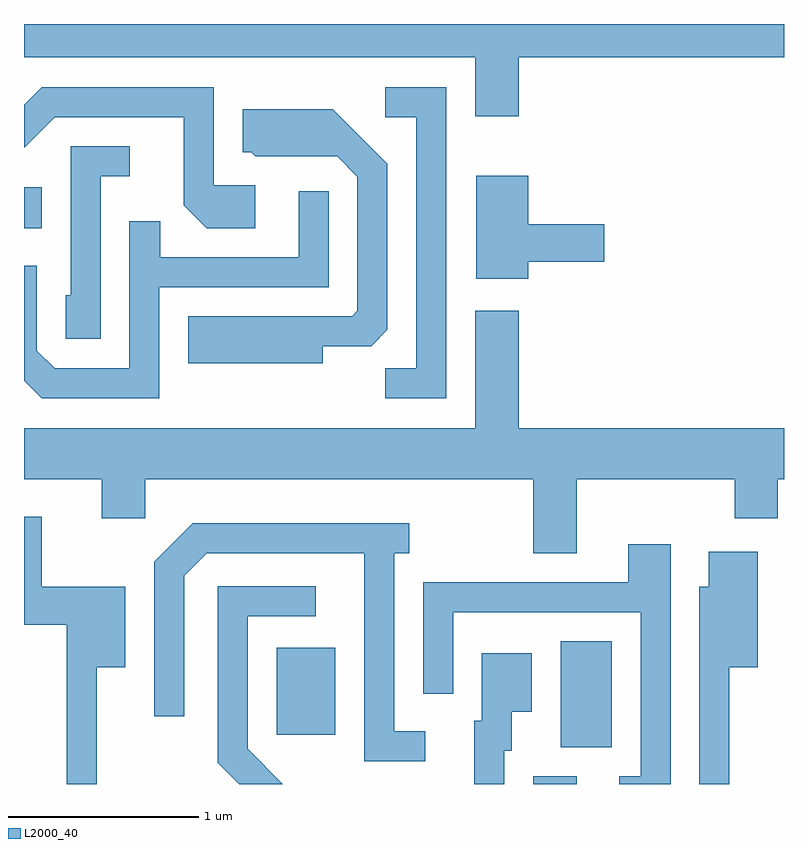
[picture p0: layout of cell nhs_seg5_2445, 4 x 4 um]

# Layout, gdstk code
import gdstk
lib = gdstk.Library(unit=1e-6, precision=1e-09)
def R(c, l, rs):  # rectangles x0, y0, x1, y1
    for r in rs: c.add(gdstk.rectangle(r[:2], r[2:], *l))
def P(c, l, *ps):  # polygons
    for p in ps: c.add(gdstk.Polygon(p, *l))
L2000_40 = (2000, 40)

nhs_seg5_2445 = lib.new_cell('nhs_seg5_2445')
R(nhs_seg5_2445, L2000_40, [(260.291,1464.072,260.519,1464.114), (260.436,1464.266,260.704,1464.824), (258.941,1464.331,259.249,1464.789), (257.611,1466.996,257.704,1467.214)])
P(nhs_seg5_2445, L2000_40, [(260.214,1467.896),(261.611,1467.896),(261.611,1468.072),(257.611,1468.072),(257.611,1467.896),(259.986,1467.896),(259.986,1467.586),(260.214,1467.586)],
  [(259.834,1467.739),(259.513,1467.739),(259.513,1467.581),(259.676,1467.581),(259.676,1466.259),(259.513,1466.259),(259.513,1466.101),(259.834,1466.101)],
  [(258.829,1467.224),(258.609,1467.224),(258.609,1467.739),(257.704,1467.739),(257.611,1467.646),(257.611,1467.42),(257.772,1467.581),(258.451,1467.581),(258.451,1467.119),(258.574,1466.996),(258.829,1466.996)],
  [(259.184,1466.376),(259.439,1466.376),(259.524,1466.462),(259.524,1467.337),(259.236,1467.624),(258.761,1467.624),(258.761,1467.396),(258.808,1467.396),(258.829,1467.376),(259.259,1467.376),(259.366,1467.269),(259.366,1466.562),(259.339,1466.534),(258.476,1466.534),(258.476,1466.286),(259.184,1466.286)],
  [(258.014,1467.271),(258.168,1467.271),(258.168,1467.429),(257.856,1467.429),(257.856,1466.644),(257.831,1466.644),(257.831,1466.416),(258.014,1466.416)],
  [(260.264,1466.821),(260.664,1466.821),(260.664,1467.019),(260.264,1467.019),(260.264,1467.274),(259.991,1467.274),(259.991,1466.731),(260.264,1466.731)],
  [(258.324,1466.686),(259.214,1466.686),(259.214,1467.193),(259.056,1467.193),(259.056,1466.844),(258.329,1466.844),(258.329,1467.033),(258.166,1467.033),(258.166,1466.259),(257.772,1466.259),(257.679,1466.352),(257.679,1466.799),(257.611,1466.799),(257.611,1466.194),(257.704,1466.101),(258.324,1466.101)],
  [(260.214,1466.564),(259.986,1466.564),(259.986,1465.944),(257.611,1465.944),(257.611,1465.676),(258.021,1465.676),(258.021,1465.471),(258.249,1465.471),(258.249,1465.676),(260.291,1465.676),(260.291,1465.286),(260.519,1465.286),(260.519,1465.676),(261.351,1465.676),(261.351,1465.471),(261.579,1465.471),(261.579,1465.676),(261.611,1465.676),(261.611,1465.944),(260.214,1465.944)],
  [(257.994,1464.686),(258.144,1464.686),(258.144,1465.109),(257.704,1465.109),(257.704,1465.479),(257.611,1465.479),(257.611,1464.911),(257.836,1464.911),(257.836,1464.072),(257.994,1464.072)],
  [(259.723,1464.349),(259.559,1464.349),(259.559,1465.286),(259.638,1465.286),(259.638,1465.444),(258.498,1465.444),(258.296,1465.242),(258.296,1464.428),(258.454,1464.428),(258.454,1465.169),(258.572,1465.286),(259.401,1465.286),(259.401,1464.191),(259.723,1464.191)],
  [(261.014,1465.334),(260.791,1465.334),(260.791,1465.134),(259.711,1465.134),(259.711,1464.548),(259.869,1464.548),(259.869,1464.976),(260.856,1464.976),(260.856,1464.114),(260.743,1464.114),(260.743,1464.072),(261.014,1464.072)],
  [(261.324,1464.686),(261.474,1464.686),(261.474,1465.294),(261.216,1465.294),(261.216,1465.109),(261.166,1465.109),(261.166,1464.072),(261.324,1464.072)],
  [(258.789,1464.257),(258.789,1464.956),(259.147,1464.956),(259.147,1465.114),(258.631,1465.114),(258.631,1464.184),(258.743,1464.072),(258.974,1464.072)],
  [(260.139,1464.246),(260.179,1464.246),(260.179,1464.451),(260.284,1464.451),(260.284,1464.759),(260.021,1464.759),(260.021,1464.404),(259.981,1464.404),(259.981,1464.072),(260.139,1464.072)])

lib.write_gds('nhs_seg5_2445.gds')
